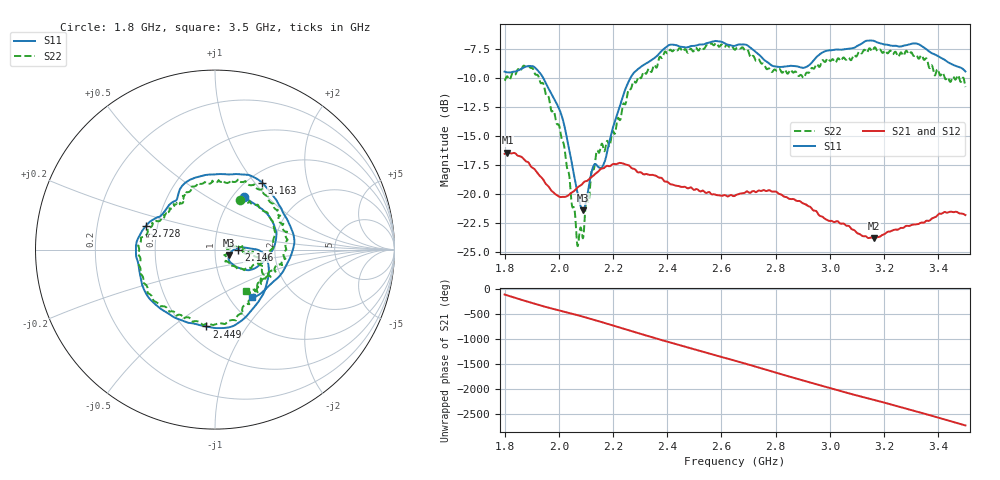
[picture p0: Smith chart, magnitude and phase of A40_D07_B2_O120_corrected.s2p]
! Created with skrf 1.9.0 (http://scikit-rf.org).
# Hz S RI R 50.0
!freq ReS11 ImS11 ReS21 ImS21 ReS12 ImS12 ReS22 ImS22
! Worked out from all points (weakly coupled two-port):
!   1601 points, 1.8 GHz to 3.5 GHz, reference 50 ohm
!   highest |S21| = -16.45 dB at 1.811 GHz (marker M1); lowest = -23.8 dB at 3.162 GHz (marker M2)
!   lowest |S11| = -21.4 dB at 2.09 GHz (marker M3), VSWR 1.19, Z = 58.5 - j3.53 ohm
!   |S11| at or under -10 dB: 1.942 GHz to 2.264 GHz (322 MHz wide, 15.3 % of centre)
!   |S22| runs from -24.5 to -7.0 dB; largest |S21 - S12| = 0.0028
!   S11 on the Smith chart (normalised r, x): 1.8 GHz: 1.12, +0.75; 2.146 GHz: 1.30, +0.00; 2.449 GHz: 0.64, -0.67; 2.728 GHz: 0.43, +0.13; 3.163 GHz: 1.16, +1.09; 3.5 GHz: 1.27, -0.76
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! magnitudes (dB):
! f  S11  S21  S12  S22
! 1.8 GHz  -9.5  -16.6  -16.6  -10.2
! 1.811 GHz  -9.5  -16.5  -16.5  -9.9
! 1.883 GHz  -9.0  -17.2  -17.3  -8.9
! 1.941 GHz  -10.0  -18.8  -18.7  -10.5
! 2.013 GHz  -13.4  -20.3  -20.3  -15.4
! 2.067 GHz  -19.7  -19.5  -19.5  -24.1
! 2.084 GHz  -21.3  -19.2  -19.2  -23.2
! 2.09 GHz  -21.4  -19.1  -19.1  -23.8
! 2.125 GHz  -17.8  -18.5  -18.5  -17.9
! 2.146 GHz  -17.7  -18.1  -18.1  -16.4
! 2.189 GHz  -15.3  -17.6  -17.6  -15.8
! 2.263 GHz  -10.0  -17.7  -17.7  -11.0
! 2.367 GHz  -8.0  -18.6  -18.5  -8.5
! 2.449 GHz  -7.3  -19.4  -19.4  -7.5
! 2.65 GHz  -7.2  -20.2  -20.1  -7.6
! 2.728 GHz  -7.8  -19.9  -19.9  -8.5
! 2.934 GHz  -8.7  -21.3  -21.3  -9.1
! 3.162 GHz  -6.8  -23.8  -23.8  -7.5
! 3.163 GHz  -6.8  -23.8  -23.8  -7.4
! 3.217 GHz  -7.2  -23.3  -23.2  -7.8
! 3.324 GHz  -7.1  -22.6  -22.6  -8.2
! 3.5 GHz  -9.4  -21.8  -21.8  -10.8
